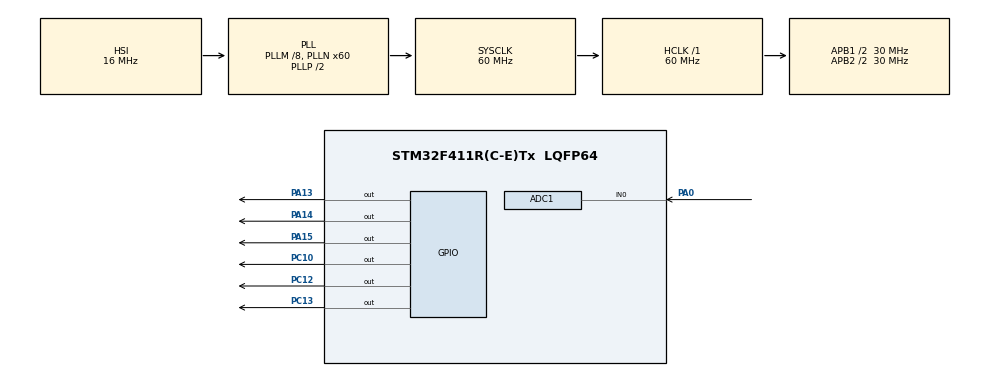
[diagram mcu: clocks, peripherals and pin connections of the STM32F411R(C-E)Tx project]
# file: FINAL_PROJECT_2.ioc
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ADC1.Channel-0\#ChannelRegularConversion=ADC_CHANNEL_0
ADC1.EOCSelection=ADC_EOC_SEQ_CONV
ADC1.NbrOfConversionFlag=1
ADC1.Rank-0\#ChannelRegularConversion=1
ADC1.Resolution=ADC_RESOLUTION_8B
ADC1.SamplingTime-0\#ChannelRegularConversion=ADC_SAMPLETIME_3CYCLES
ADC1.master=1
Mcu.Family=STM32F4
Mcu.Name=STM32F411R(C-E)Tx
Mcu.Package=LQFP64
NVIC.PriorityGroup=NVIC_PRIORITYGROUP_0
PA0-WKUP.Signal=ADCx_IN0
PA13.Signal=GPIO_Output
PA14.Signal=GPIO_Output
PA15.Signal=GPIO_Output
PB3.GPIO_Label=SWO
PB3.Signal=SYS_JTDO-SWO
PC10.Signal=GPIO_Output
PC12.Signal=GPIO_Output
PC13-ANTI_TAMP.Signal=GPIO_Output
PH0\ -\ OSC_IN.Mode=HSE-External-Clock-Source
PH0\ -\ OSC_IN.Signal=RCC_OSC_IN
PH1\ -\ OSC_OUT.Mode=HSE-External-Clock-Source
PH1\ -\ OSC_OUT.Signal=RCC_OSC_OUT
ProjectManager.HeapSize=0x200
ProjectManager.StackSize=0x400
ProjectManager.TargetToolchain=STM32CubeIDE
RCC.48MHZClocksFreq_Value=30000000
RCC.AHBFreq_Value=60000000
RCC.APB1CLKDivider=RCC_HCLK_DIV2
RCC.APB1Freq_Value=30000000
RCC.APB1TimFreq_Value=60000000
RCC.APB2CLKDivider=RCC_HCLK_DIV2
RCC.APB2Freq_Value=30000000
RCC.APB2TimFreq_Value=60000000
RCC.CortexFreq_Value=60000000
RCC.FLatency-AdvancedSettings=FLASH_LATENCY_1
RCC.HCLKFreq_Value=60000000
RCC.HSE_VALUE=8000000
RCC.HSI_VALUE=16000000
RCC.LSE_VALUE=32768
RCC.PLLM=8
RCC.PLLN=60
RCC.SYSCLKFreq_VALUE=60000000
RCC.SYSCLKSource=RCC_SYSCLKSOURCE_PLLCLK
RCC.VCOOutputFreq_Value=120000000
SH.ADCx_IN0.0=ADC1_IN0,IN0
VP_TIM2_VS_ClockSourceINT.Mode=Internal
board=NUCLEO-F411RE

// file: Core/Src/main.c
/* USER CODE BEGIN Header */
/**
  ******************************************************************************
  * @file           : main.c
  * @brief          : Main program body
  ******************************************************************************
  * @attention
  *
  * Copyright (c) 2022 STMicroelectronics.
  * All rights reserved.
  *
  * This software is licensed under terms that can be found in the LICENSE file
  * in the root directory of this software component.
  * If no LICENSE file comes with this software, it is provided AS-IS.
  *
  ******************************************************************************
  */
/* USER CODE END Header */
#include "main.h"

/* USER CODE BEGIN Includes */
#include "lcd.h"
/* USER CODE END Includes */

/* USER CODE BEGIN PM */
Lcd_HandleTypeDef lcd;
/* USER CODE END PM */

ADC_HandleTypeDef hadc1;

TIM_HandleTypeDef htim2;

/* USER CODE BEGIN PV */
uint16_t raw_in;
float Pot_mv;
float Pot;
int Potshow;
volatile int emergency = 0;
volatile int velocity = 0;
volatile int c=0,c_p=0;
int x=0;
int y=0;
int z=0;
int ref=0;
int pid=0;
float integral=0;
int u_max=200;
int u_min=0;
int pwm=0;
/* USER CODE END PV */

void SystemClock_Config(void);
static void MX_GPIO_Init(void);
static void MX_ADC1_Init(void);
static void MX_TIM2_Init(void);
/* USER CODE BEGIN PFP */
void EmergencyStop(void);
void start(void);
void velocities(void);

void EXTI9_5_IRQHandler(void){
  if(EXTI->PR & (0x01 << 5)){
    NVIC_ClearPendingIRQ(EXTI9_5_IRQn);
    if(velocity<3)
    velocity++;
    else if (velocity>=3)
    	velocity=3;
    EXTI->PR |= (0x01 << 5); // Clear the EXTI pending register
  }
  if(EXTI->PR & (0x01 << 6)){
      NVIC_ClearPendingIRQ(EXTI9_5_IRQn);
      if(velocity>0)
         velocity--;
         else if (velocity<1)
         	velocity = 0;
      EXTI->PR |= (0x01 << 6); // Clear the EXTI pending register
    }
  if(EXTI->PR & (0x01 << 7)){
      NVIC_ClearPendingIRQ(EXTI9_5_IRQn);
      emergency = 1;
      EXTI->PR |= (0x01 << 6); // Clear the EXTI pending register
    }
}
void EXTI2_IRQHandler(void){
			// GPIOC2
    NVIC_ClearPendingIRQ(EXTI2_IRQn);
    c_p++;

    EXTI->PR |= (0x01 << 2); 				// Clear the EXTI pending register
}
void EXTI15_10_IRQHandler(void){
  if(EXTI->PR & (0x01 << 15)){				// GPIOC13 - button
    NVIC_ClearPendingIRQ(EXTI15_10_IRQn);
    c_p++;
    EXTI->PR |= (0x01 << 15); 				// Clear the EXTI pending register
  }
}

/* USER CODE END PFP */

/* USER CODE BEGIN 0 */
void TIM2_IRQHandler(void){					// Encoder check
	NVIC_ClearPendingIRQ(TIM2_IRQn);
	TIM2->SR= (uint16_t)(~(1 << 0));
	c=c_p;									// storing the number of pulses
	c_p = 0;								// pulses counter reset
	pid=1;
}
void ADC_IRQHandler(void) {
	HAL_ADC_IRQHandler(&hadc1);
	// Re-Start ADC in interrupt Mode
	HAL_ADC_Start_IT(&hadc1) ;
}
void HAL_ADC_ConvCpltCallback(ADC_HandleTypeDef* hadc) {
	// Read the analog input value
	raw_in = HAL_ADC_GetValue(&hadc1);
	// Converts value in the 0V-3.3V range
	Pot_mv = (((float)raw_in) /255 ) * 2.5;
	// Convert mV to angle
	Potshow=(Pot_mv*45)/2.5;
}
/* USER CODE END 0 */

int main(void)
{

  /* MCU Configuration--------------------------------------------------------*/

  /* Reset of all peripherals, Initializes the Flash interface and the Systick. */
  HAL_Init();

  /* Configure the system clock */
  SystemClock_Config();

  /* Initialize all configured peripherals */
  MX_GPIO_Init();
  MX_ADC1_Init();
  MX_TIM2_Init();
  /* USER CODE BEGIN 2 */
  // Enable clock on GPIOA/GPIOB/GPIOC
      RCC->AHB1ENR |= 0x07;

      /* Booton  GPIOA5 and GPIOA6 GPIOA7 GPIOA10 */
      // GPIOA5 <-> PC_5 (USER_BUTTON)
      GPIOA->MODER &= ~(0x03 << 10); // Clear MODER GPIOA5
      GPIOA->MODER |= (0x00 << 10);  // Set Input
      GPIOA->PUPDR &= ~(0x03 << 10); // Clear PUPDR GPIOA5
      GPIOA->PUPDR |= (0x00 << 10);  // Set Pull-Up

      //GPIOA6 <-> PC_6
      GPIOC->MODER &= ~(0x03 << 12); // Clear MODER GPIOA6
      GPIOC->MODER |= (0x00 << 12);  // Set Input
      GPIOC->PUPDR &= ~(0x03 << 12); // Clear PUPDR GPIOA6
      GPIOC->PUPDR |= (0x00 << 12);  // Set Pull-Up
      /** GPIOA Configuration **/

       GPIOA->MODER  &= ~(0x03 << 14); // Clear GPIOA7
       GPIOA->MODER |= (0x00 << 14);   // Set Input
       GPIOA->PUPDR &= ~(0x03 << 14); // Clear PUPDR GPIOA10
       GPIOA->PUPDR |= (0x01 << 14);  // Pull-Up Mode su pin di input

       GPIOA->MODER &= ~(0x03 << 20); // Clear MODER GPIOA10
       GPIOA->MODER |= (0x00 << 20);  // Set Input
       GPIOA->PUPDR &= ~(0x03 << 20); // Clear PUPDR GPIOA10
       GPIOA->PUPDR |= (0x00 << 20);  // Set Pull-Up

       /** GPIOB Configuration **/
       GPIOB->MODER  &= ~(0x03 << 12); // Clear GPIOB6
       GPIOB->MODER |= (0x01 << 12);  // Set Output
       // Push-Pull output & Pull-up
       GPIOB->OTYPER &= ~(0x1 << 6);
       GPIOB->PUPDR &= ~(0x03 << 12); // Clear GPIOB6
       GPIOB->PUPDR |= (0x01 << 12);

       /** GPIOC Configuration **/
       GPIOC->MODER  &= ~(0x03 << 14); // Clear GPIOC7
       GPIOC->MODER |= (0x01 << 14);  // Set Output
       // Push-Pull output & Pull-up
       GPIOC->OTYPER &= ~(0x1 << 7);
       GPIOC->PUPDR &= ~(0x03 << 14); // Clear GPIOC7
       GPIOC->PUPDR |= (0x01 << 14);
       // Output LOW
       GPIOB->ODR &= ~(0x01 << 6);
       GPIOC->ODR &= ~(0x01 << 7);

   	/* Config PC2 - Encoder1 */
     	GPIOC->MODER &= ~(0x03 << 4); // Clear MODER GPIOC13
     	GPIOC->MODER |= (0x00 << 4);  // Set Input
     	GPIOC->PUPDR &= ~(0x03 << 4); // Clear PUPDR GPIOC13
     	GPIOC->PUPDR |= (0x01 << 4);  // Set Pull-Up

       /* GPIO configuration for PMW */
        // TIMER 3 CONFIGURATION
        RCC->APB1ENR |= (0x01 << 1);		// clock TIM3
        TIM3->PSC = 5999;
      	TIM3->ARR = 200;

       // MICRO SERVO
       	GPIOB->MODER &= ~(0x03 << 8);       // Clear GPIOB4
       	GPIOB->MODER |= (0x02 << 8);	    // Alternate Function (AF) Mode
       	GPIOB->PUPDR &= ~(0x03 << 8);
       	GPIOB->PUPDR |= (0x01 << 8);	    // Pull-up
       	GPIOB->AFR[0] |= (0x02 << 16);	    // [0]=AFRL, <<16 = pin4, 0x02 = AF2
      	// TIMER 3 CONFIGURATION
  	// ch1
  	TIM3->CCMR1 |= (0x6 << 4);			// PWM Mode in Capture/Compare register (ch1)
  	TIM3->CCER |= (1 << 0);				// Enable Capture/Compare output (ch1)
  	TIM3->CR1 |= (1 << 0);				// Counter Enable
  	TIM3->CCR1 &= 0;
  	TIM3->CCR1 = 10;				// Duty-cycle (ch1)

       	// GEARMOTOR
     	GPIOB->MODER &= ~(0x03 << 10);          // Clear GPIOB5
      	GPIOB->MODER |= (0x02 << 10);		// Alternate Function (AF) Mode
      	GPIOB->PUPDR &= ~(0x03 << 10);
      	GPIOB->PUPDR |= (0x01 << 10);		// Pull-up
      	GPIOB->AFR[0] |= (0x02 << 20);		// [0]=AFRL, <<20 = pin5, 0x02 = AF2

  	// ch2
  	TIM3->CCMR1 |= (0x6 << 12);			// PWM Mode in Capture/Compare register (ch2)
  	TIM3->CCER |= (1 << 4);				// Enable Capture/Compare output (ch2)
  	TIM3->CR1 |= (1 << 0);			        // Counter Enable
  	TIM3->CCR2 &= 0;
   	TIM3->CCR2 = 0;					// Duty-cycle (ch2)

       	 /* Timer 2 to check the encoder */
       	 RCC->APB1ENR |= (0x01 << 0);	// Clock TIM2
       	 TIM2->PSC = 5999;
       	 TIM2->ARR = 3999;
       	 TIM2->DIER &= ~0x01;
       	 TIM2->DIER|=0x01;					// Interrupt Enable
       	 NVIC_ClearPendingIRQ(TIM2_IRQn);
       	 NVIC_EnableIRQ(TIM2_IRQn);
       	 //__enable_irq();
       	 TIM2->CR1 |= (0x01 << 0);

      /* Manage the interrupts */
       // Enable the clock for SYSCFG (bit 14)
       RCC->APB2ENR |= RCC_APB2ENR_SYSCFGEN;

       SYSCFG->EXTICR[1] |= SYSCFG_EXTICR2_EXTI6_PA; // External interrupt on GPIOA6
       SYSCFG->EXTICR[1] |= SYSCFG_EXTICR2_EXTI5_PA; // External interrupt on GPIOA5
       SYSCFG->EXTICR[1] |= SYSCFG_EXTICR2_EXTI7_PA; // External interrupt on GPIOA7
       SYSCFG->EXTICR[0] |= SYSCFG_EXTICR1_EXTI2_PC; // External interrupt on GPIOC2

       EXTI->IMR |= (0x01 << 6) | (0x01 << 5)| (0x01 << 7)| (0x01 << 2);     // Set not masked interrupt
       EXTI->RTSR |= (0x01 << 7);    // Rising Edge
       EXTI->FTSR |= (0x01 << 6) | (0x01 << 5)| (0x01 << 2);    // Falling Edge

       /* Gestione NVIC */
       // PA_5 Y 6 y 10
       NVIC_SetPriority(EXTI9_5_IRQn, 0);
       NVIC_ClearPendingIRQ(EXTI9_5_IRQn);
       NVIC_EnableIRQ(EXTI9_5_IRQn);
       // Abilitazione Interrupt
       __asm volatile ("cpsie i" : : : "memory"); // Change Processor State, Enable Interrupts
       // INTERRUPTION OF ENCODER
     	NVIC_SetPriority(EXTI2_IRQn, 0);
     	NVIC_ClearPendingIRQ(EXTI2_IRQn);
     	NVIC_EnableIRQ(EXTI2_IRQn);

       // Interrupt configuration for ADC
       NVIC_SetPriority(ADC_IRQn, 0);
       NVIC_EnableIRQ(ADC_IRQn);
       // Start ADC in interrupt Mode
       HAL_ADC_Start_IT(&hadc1);

       //ASIGNATION OF PORTS FOR LCD

       // Lcd_PortType ports[] = { D4_GPIO_Port, D5_GPIO_Port, D6_GPIO_Port, D7_GPIO_Port };
         Lcd_PortType ports[] = { GPIOA, GPIOA, GPIOA, GPIOC };
         // Lcd_PinType pins[] = {D4_Pin, D5_Pin, D6_Pin, D7_Pin};
         Lcd_PinType pins[] = {GPIO_PIN_13, GPIO_PIN_14, GPIO_PIN_15, GPIO_PIN_13};
         //Lcd_HandleTypeDef lcd;
         // Lcd_create(ports, pins, RS_GPIO_Port, RS_Pin, EN_GPIO_Port, EN_Pin, LCD_4_BIT_MODE);
         lcd = Lcd_create(ports, pins, GPIOC, GPIO_PIN_10, GPIOC, GPIO_PIN_12, LCD_4_BIT_MODE);
         Lcd_clear(&lcd);
  /* USER CODE END 2 */

  /* Infinite loop */
  while (1)
  {

    /* USER CODE BEGIN 3 */
	  if (!(GPIOA->IDR >> 10 & 0x1) & z==0){
	  	   GPIOB->ODR  |=  (0x01 << 6);
	  	   GPIOC->ODR  &= ~  (0x01 << 7);
	  	   x=0;
		   start();
          while (y==1){
	           if(emergency == 1){
	        	 Lcd_clear(&lcd);
	        	 Lcd_cursor(&lcd, 0,3);
	        	 Lcd_string(&lcd, "EMERGENCY");
	        	 Lcd_cursor(&lcd, 1,6);
	        	 Lcd_string(&lcd, "STOP");
	          	 EmergencyStop();
	             Lcd_clear(&lcd);
                }
	           velocities();
	  	     if(pid==1 && velocity>0){
	  	    	 pwm=calculate_PID();
	  	    	TIM3->CCR2 &= 0;
	  	    	TIM3->CCR2 = pwm;
	  	     }
	  	     pid=0;
	           Lcd_cursor(&lcd, 0,0);
	  	  	   Lcd_string(&lcd, "Velocity:");
	  	  	   Lcd_cursor(&lcd, 0,9);
	  	  	   Lcd_int(&lcd, velocity);
	  	       Lcd_cursor(&lcd, 0,13);
	  	       Lcd_int(&lcd, ref);
	  	  	   if (ref<10){
		  	  	   Lcd_cursor(&lcd, 0,14);
		  	  	   Lcd_string(&lcd, " ");
	  	  	   }
		  	  	if (ref<100){
		  	  	  Lcd_cursor(&lcd, 0,15);
		  	  	  Lcd_string(&lcd, " ");
		  	  	}

	  	       Lcd_cursor(&lcd, 1,0);
	  	  	   Lcd_string(&lcd, "Inclination:");
	  	  	   if (Pot<10){
		  	  	   Lcd_cursor(&lcd, 1,14);
		  	  	   Lcd_string(&lcd, " ");
	  	  	   }
	  	  	   Lcd_cursor(&lcd, 1,13);
	  	  	   Lcd_int(&lcd, Potshow);
	  	  	   //velocities();
	 		   TIM3->CCR1 &= 0;
	 		   TIM3->CCR1 = 50+Potshow;
	  	  	   if ((GPIOA->IDR >> 10 & 0x1) & Pot<5 & velocity==0){
	  	  		   z=1;
	  	  		   y=0;
	  	  	   }
	  	  }
	  }
	  else if((GPIOA->IDR >> 10 & 0x1) & z==1){
	   		GPIOB->ODR  &= ~  (0x01 << 6);
	   		GPIOC->ODR  &= ~  (0x01 << 7);
	   		Lcd_clear(&lcd);
	   		while  (x<=5){
	   			Lcd_cursor(&lcd, 0,4);
	   		    Lcd_string(&lcd, "GOODBYE");
	   			HAL_Delay (650);
	   			Lcd_clear(&lcd);
	   			GPIOC->ODR ^= (0x01 << 7);
	   			GPIOB->ODR ^= (0x1 << 6);
	   			HAL_Delay (650);
	   			x++;
	   		}
	   		GPIOB->ODR  &= ~  (0x01 << 6);
	   		GPIOC->ODR  &= ~  (0x01 << 7);
	   		z=0;
	   		x=0;
	   		Lcd_clear(&lcd);

	  }
	  if (!(GPIOA->IDR >> 10 & 0x1) & z==1){

		    GPIOC->ODR  &= ~  (0x01 << 7);
			Lcd_cursor(&lcd, 0,0);
		    Lcd_string(&lcd, "PUT SWICH TO OFF");
			Lcd_cursor(&lcd, 1,0);
		    Lcd_string(&lcd, "    TO RESET    ");
			 TIM3->CCR2 &= 0;
			 TIM3->CCR2 = 0;
			 TIM3->CCR1 &= 0;
			 TIM3->CCR1 = 50;
	  }

  }
  /* USER CODE END 3 */
}

void SystemClock_Config(void)
{
  RCC_OscInitTypeDef RCC_OscInitStruct = {0};
  RCC_ClkInitTypeDef RCC_ClkInitStruct = {0};

  /** Configure the main internal regulator output voltage
  */
  __HAL_RCC_PWR_CLK_ENABLE();
  __HAL_PWR_VOLTAGESCALING_CONFIG(PWR_REGULATOR_VOLTAGE_SCALE1);

  /** Initializes the RCC Oscillators according to the specified parameters
  * in the RCC_OscInitTypeDef structure.
  */
  RCC_OscInitStruct.OscillatorType = RCC_OSCILLATORTYPE_HSI;
  RCC_OscInitStruct.HSIState = RCC_HSI_ON;
  RCC_OscInitStruct.HSICalibrationValue = RCC_HSICALIBRATION_DEFAULT;
  RCC_OscInitStruct.PLL.PLLState = RCC_PLL_ON;
  RCC_OscInitStruct.PLL.PLLSource = RCC_PLLSOURCE_HSI;
  RCC_OscInitStruct.PLL.PLLM = 8;
  RCC_OscInitStruct.PLL.PLLN = 60;
  RCC_OscInitStruct.PLL.PLLP = RCC_PLLP_DIV2;
  RCC_OscInitStruct.PLL.PLLQ = 4;
  if (HAL_RCC_OscConfig(&RCC_OscInitStruct) != HAL_OK)
  {
    Error_Handler();
  }

  /** Initializes the CPU, AHB and APB buses clocks
  */
  RCC_ClkInitStruct.ClockType = RCC_CLOCKTYPE_HCLK|RCC_CLOCKTYPE_SYSCLK
                              |RCC_CLOCKTYPE_PCLK1|RCC_CLOCKTYPE_PCLK2;
  RCC_ClkInitStruct.SYSCLKSource = RCC_SYSCLKSOURCE_PLLCLK;
  RCC_ClkInitStruct.AHBCLKDivider = RCC_SYSCLK_DIV1;
  RCC_ClkInitStruct.APB1CLKDivider = RCC_HCLK_DIV2;
  RCC_ClkInitStruct.APB2CLKDivider = RCC_HCLK_DIV2;

  if (HAL_RCC_ClockConfig(&RCC_ClkInitStruct, FLASH_LATENCY_1) != HAL_OK)
  {
    Error_Handler();
  }
}

static void MX_ADC1_Init(void)
{

  ADC_ChannelConfTypeDef sConfig = {0};

  /** Configure the global features of the ADC (Clock, Resolution, Data Alignment and number of conversion)
  */
  hadc1.Instance = ADC1;
  hadc1.Init.ClockPrescaler = ADC_CLOCK_SYNC_PCLK_DIV2;
  hadc1.Init.Resolution = ADC_RESOLUTION_8B;
  hadc1.Init.ScanConvMode = DISABLE;
  hadc1.Init.ContinuousConvMode = DISABLE;
  hadc1.Init.DiscontinuousConvMode = DISABLE;
  hadc1.Init.ExternalTrigConvEdge = ADC_EXTERNALTRIGCONVEDGE_NONE;
  hadc1.Init.ExternalTrigConv = ADC_SOFTWARE_START;
  hadc1.Init.DataAlign = ADC_DATAALIGN_RIGHT;
  hadc1.Init.NbrOfConversion = 1;
  hadc1.Init.DMAContinuousRequests = DISABLE;
  hadc1.Init.EOCSelection = ADC_EOC_SEQ_CONV;
  if (HAL_ADC_Init(&hadc1) != HAL_OK)
  {
    Error_Handler();
  }

  /** Configure for the selected ADC regular channel its corresponding rank in the sequencer and its sample time.
  */
  sConfig.Channel = ADC_CHANNEL_0;
  sConfig.Rank = 1;
  sConfig.SamplingTime = ADC_SAMPLETIME_3CYCLES;
  if (HAL_ADC_ConfigChannel(&hadc1, &sConfig) != HAL_OK)
  {
    Error_Handler();
  }

}

static void MX_TIM2_Init(void)
{

  TIM_ClockConfigTypeDef sClockSourceConfig = {0};
  TIM_MasterConfigTypeDef sMasterConfig = {0};

  htim2.Instance = TIM2;
  htim2.Init.Prescaler = 0;
  htim2.Init.CounterMode = TIM_COUNTERMODE_UP;
  htim2.Init.Period = 4294967295;
  htim2.Init.ClockDivision = TIM_CLOCKDIVISION_DIV1;
  htim2.Init.AutoReloadPreload = TIM_AUTORELOAD_PRELOAD_DISABLE;
  if (HAL_TIM_Base_Init(&htim2) != HAL_OK)
  {
    Error_Handler();
  }
  sClockSourceConfig.ClockSource = TIM_CLOCKSOURCE_INTERNAL;
  if (HAL_TIM_ConfigClockSource(&htim2, &sClockSourceConfig) != HAL_OK)
  {
    Error_Handler();
  }
  sMasterConfig.MasterOutputTrigger = TIM_TRGO_RESET;
  sMasterConfig.MasterSlaveMode = TIM_MASTERSLAVEMODE_DISABLE;
  if (HAL_TIMEx_MasterConfigSynchronization(&htim2, &sMasterConfig) != HAL_OK)
  {
    Error_Handler();
  }

}

static void MX_GPIO_Init(void)
{
  GPIO_InitTypeDef GPIO_InitStruct = {0};

  /* GPIO Ports Clock Enable */
  __HAL_RCC_GPIOC_CLK_ENABLE();
  __HAL_RCC_GPIOH_CLK_ENABLE();
  __HAL_RCC_GPIOA_CLK_ENABLE();
  __HAL_RCC_GPIOB_CLK_ENABLE();

  /*Configure GPIO pin Output Level */
  HAL_GPIO_WritePin(GPIOC, GPIO_PIN_13|GPIO_PIN_10|GPIO_PIN_12, GPIO_PIN_RESET);

  /*Configure GPIO pin Output Level */
  HAL_GPIO_WritePin(GPIOA, GPIO_PIN_13|GPIO_PIN_14|GPIO_PIN_15, GPIO_PIN_RESET);

  /*Configure GPIO pins : PC13 PC10 PC12 */
  GPIO_InitStruct.Pin = GPIO_PIN_13|GPIO_PIN_10|GPIO_PIN_12;
  GPIO_InitStruct.Mode = GPIO_MODE_OUTPUT_PP;
  GPIO_InitStruct.Pull = GPIO_NOPULL;
  GPIO_InitStruct.Speed = GPIO_SPEED_FREQ_LOW;
  HAL_GPIO_Init(GPIOC, &GPIO_InitStruct);

  /*Configure GPIO pins : PA13 PA14 PA15 */
  GPIO_InitStruct.Pin = GPIO_PIN_13|GPIO_PIN_14|GPIO_PIN_15;
  GPIO_InitStruct.Mode = GPIO_MODE_OUTPUT_PP;
  GPIO_InitStruct.Pull = GPIO_NOPULL;
  GPIO_InitStruct.Speed = GPIO_SPEED_FREQ_LOW;
  HAL_GPIO_Init(GPIOA, &GPIO_InitStruct);

}

/* USER CODE BEGIN 4 */
void EmergencyStop(void){
	GPIOB->ODR  &= ~ (0x01 << 6);
	GPIOC->ODR  |=  (0x01 << 7);
	//HAL_Delay(500);
	velocity=0;
	Pot=0;
	Potshow=0;
	Lcd_clear(&lcd);
	       Lcd_cursor(&lcd, 0,0);
	  	   Lcd_string(&lcd, "Velocity:");
	  	   Lcd_cursor(&lcd, 0,10);
	  	   Lcd_int(&lcd, velocity);
	       Lcd_cursor(&lcd, 1,0);
	  	   Lcd_string(&lcd, "Inclination:");
	  	   Lcd_cursor(&lcd, 1,13);
	  	   Lcd_int(&lcd, 0);
	HAL_Delay(1000);
	emergency = 0;
	y=0;
	z=1;
	//Lcd_clear(&lcd);

}
void start(void){
	   Lcd_cursor(&lcd, 0,4);
	   Lcd_string(&lcd, "WELCOME");
	   HAL_Delay(3000);
	   Lcd_clear(&lcd);
	   Lcd_cursor(&lcd, 0,6);
	   Lcd_string(&lcd, "-3-");
	   HAL_Delay(1000);
	   Lcd_cursor(&lcd, 0,6);
	   Lcd_string(&lcd, "-2-");
	   HAL_Delay(1000);
	   Lcd_cursor(&lcd, 0,6);
	   Lcd_string(&lcd, "-1-");
	   HAL_Delay(1000);
	   y=1;
}
void velocities(void){
	   if (velocity==0){
		   ref=0;
		TIM3->CCR2 &= 0;
		TIM3->CCR2 = 0;
	   }
	   if (velocity==1){
		   ref=54;
		/*TIM3->CCR2 &= 0;
		TIM3->CCR2 = 325;
		HAL_Delay(150);
		TIM3->CCR2 = 150;*/
	   }
	   if (velocity==2){
		   ref=72;
		//TIM3->CCR2 &= 0;
		//TIM3->CCR2 = 300;
	   }
	   if (velocity==3){
		   ref=108;
		//TIM3->CCR2 &= 0;
		//TIM3->CCR2 = 450;
	   }
	   if (velocity==4){
		   ref=135;
		//TIM3->CCR2 &= 0;
		//TIM3->CCR2 = 600;
	   }
	   if (velocity==5){
		   ref=153;
		//TIM3->CCR2 &= 0;
		//TIM3->CCR2 = 750;
	   }
}

int calculate_PID(){

	float error = ref-c*7.5;
	integral += (4*0.4*error);                      //ki=4, ts=0.4
	float u_input = (0.5*error)+integral;			// strategia PI  kp=0.5
	//u_input = anti_windup(u_input, err, sPID);
	if (u_input > u_max){
		u_input = u_max;
		integral-=(4*0.4*error);
	}
	else if (u_input < u_min){
		u_input = u_min;
		integral-=(4*0.4*error);
	}

return (int)u_input;

}

/* USER CODE END 4 */

void Error_Handler(void)
{
  __disable_irq();
  while (1)
  {
  }
}
